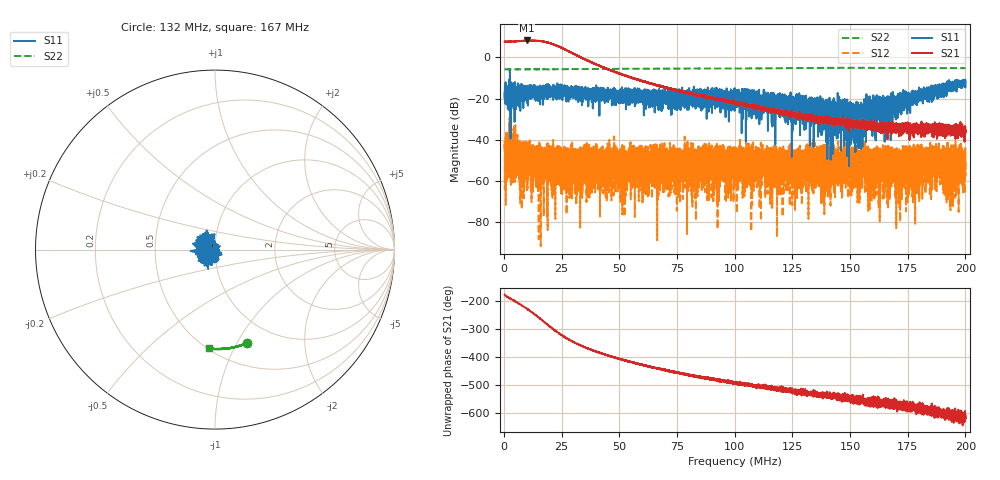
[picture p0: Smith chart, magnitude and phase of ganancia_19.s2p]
# Hz S DB R 50
! CMT, M5065, 19127446, 24.2.4/2
! Date: 11/8/2024 3:56:17 PM
! Data: Format (Calibration Info)
! Freq	S11:dB/Ang(F2)	S21:dB/Ang(F2)	S12:dB/Ang(F2)	S22:dB/Ang(F2)
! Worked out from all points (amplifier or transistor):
!   9000 points, 300 kHz to 200 MHz, reference 50 ohm
!   highest |S21| = 8.1 dB at 9.931 MHz (marker M1)
!   |S21| within 3 dB of that: start of sweep to 23.88 MHz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
!   unconditionally stable (mu >= 1): start of sweep to end of sweep
!   at 33.59 MHz: K = 104.45, MAG = 1.2 dB, |S12| = -49.0 dB
!   at 100.2 MHz: K = 1243.73, MAG = -20.4 dB, |S12| = -49.1 dB
!   at 200 MHz: K = 5666.68, MAG = -32.4 dB, |S12| = -50.4 dB
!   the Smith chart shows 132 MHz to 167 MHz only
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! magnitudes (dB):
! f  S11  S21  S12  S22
! 300 kHz  -17.2  7.6  -40.6  -5.8
! 3.14 MHz  -19.8  7.6  -43.2  -5.8
! 5.138 MHz  -15.2  7.7  -50.6  -5.8
! 7.69 MHz  -16.5  7.9  -49.3  -5.9
! 9.931 MHz  -16.6  8.1  -65.0  -5.8
! 19.89 MHz  -15.1  6.9  -46.3  -5.8
! 33.59 MHz  -18.2  -0.2  -49.0  -5.7
! 66.87 MHz  -22.1  -13.7  -57.3  -5.5
! 100.2 MHz  -21.5  -21.8  -49.1  -5.4
! 133.4 MHz  -30.9  -28.9  -45.6  -5.2
! 146.7 MHz  -23.4  -30.8  -50.5  -5.1
! 149 MHz  -25.0  -31.1  -56.8  -5.1
! 153.7 MHz  -23.0  -32.1  -46.6  -5.1
! 154.7 MHz  -21.9  -33.5  -59.4  -5.1
! 155.9 MHz  -34.1  -32.8  -49.1  -5.1
! 157.1 MHz  -17.9  -32.2  -45.4  -5.1
! 166.7 MHz  -33.0  -34.8  -63.8  -5.2
! 179.2 MHz  -18.8  -36.6  -51.4  -5.2
! 181.1 MHz  -15.5  -34.7  -44.1  -5.2
! 187.6 MHz  -15.2  -34.3  -47.7  -5.3
! 191 MHz  -16.0  -34.2  -53.5  -5.3
! 200 MHz  -12.6  -34.2  -50.4  -5.3
